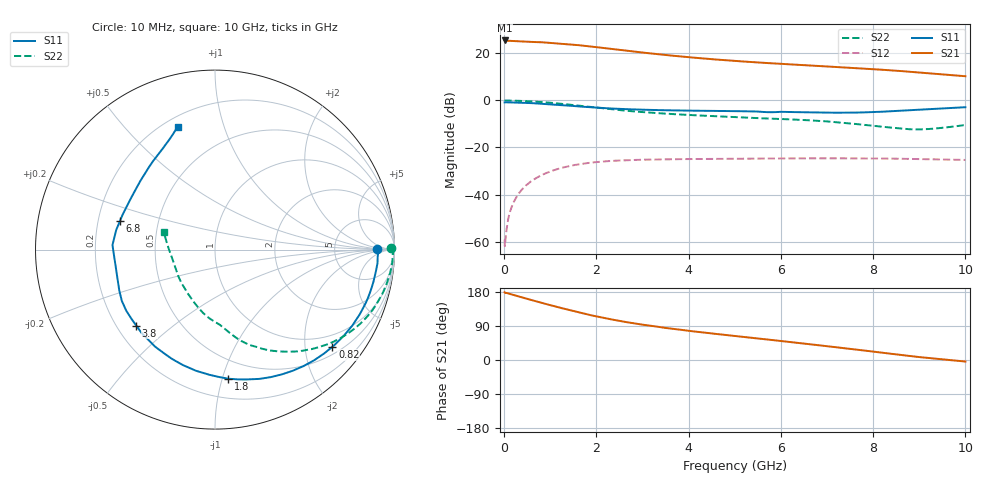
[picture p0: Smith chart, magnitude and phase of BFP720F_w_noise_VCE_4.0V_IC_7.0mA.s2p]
! Infineon Technologies  Discrete & RF Semiconductors
! BFP720F
! VCE =  4.0 V,  IC =  7.0 mA
! Common Emitter S-Parameters:  Jan 2016
# GHz  S  MA  R  50
!  f  S11  S21  S12  S22
! GHz  MAG  ANG  MAG  ANG  MAG  ANG  MAG  ANG
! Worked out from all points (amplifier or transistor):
!   233 points, 10 MHz to 10 GHz, reference 50 ohm
!   highest |S21| = 25.5 dB at 10 MHz (marker M1)
!   |S21| within 3 dB of that: start of sweep to 2.069 GHz
!   unconditionally stable (mu >= 1): 10.27 MHz to 15.48 MHz; 7.21 GHz to end of sweep
!   at 200 MHz: K = 0.12, MSG = 34.3 dB, |S12| = -43.5 dB
!   at 1.74 GHz: K = 0.26, MSG = 25.0 dB, |S12| = -26.8 dB
!   at 10 GHz: K = 1.29, MAG = 14.5 dB, |S12| = -25.3 dB
!   lowest NFmin = 0.48 dB at 450 MHz
!   S11 on the Smith chart (normalised r, x): 10 MHz: 20, +0; 820 MHz: 0.68, -2.62; 1.8 GHz: 0.35, -1.05; 3.8 GHz: 0.28, -0.38; 6.8 GHz: 0.29, +0.14; 10 GHz: 0.25, +0.71
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0.01  0.9046 0.1  18.76 178.8  0.0011 -21.2  0.9804 0.4
0.02  0.9103 -0.8  18.43 177.0  0.0009 55.1  0.9927 -1.2
0.05  0.9073 -2.4  18.55 177.2  0.0017 70.7  0.9905 -1.5
0.105  0.908 -5.0  18.46 175.2  0.0036 79.5  0.9909 -3.2
0.24  0.9007 -11.5  18.18 170.3  0.008 79.5  0.9849 -7.3
0.45  0.8868 -21.7  17.75 163.0  0.0148 75.1  0.9679 -13.7
0.82  0.8489 -39.6  17.17 150.6  0.026 65.3  0.9218 -24.6
1  0.828 -48.1  16.68 144.7  0.0309 60.5  0.892 -29.7
1.28  0.7904 -61.1  15.85 135.8  0.0375 53.3  0.8397 -37.4
1.68  0.7362 -79.2  14.67 123.7  0.0448 43.9  0.7599 -47.3
1.8  0.7232 -84.1  14.23 120.3  0.0465 41.3  0.7375 -50.1
2.2  0.6832 -99.0  12.83 110.1  0.0508 33.6  0.6665 -58.3
2.6  0.6547 -111.4  11.52 101.0  0.0534 27.2  0.6085 -64.9
3  0.6354 -121.7  10.39 93.2  0.055 22.5  0.5646 -70.2
3.4  0.6206 -129.5  9.431 86.5  0.0558 18.6  0.5307 -73.8
3.8  0.61 -136.1  8.625 80.2  0.0564 15.2  0.5027 -76.7
4.5  0.6002 -145.5  7.509 70.0  0.0572 10.7  0.4645 -80.7
5.1  0.5895 -152.3  6.792 62.1  0.0578 7.5  0.4366 -84.0
6.8  0.5527 163.1  5.394 39.2  0.0588 0.1  0.3676 -98.4
8.4  0.5893 128.5  4.342 16.3  0.058 -6.4  0.2634 -135.5
9  0.634 117.3  3.906 7.7  0.0564 -8.1  0.2416 -163.8
10  0.7162 106.8  3.26 -4.1  0.0544 -9.4  0.3005 161.5
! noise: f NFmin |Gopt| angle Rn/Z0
0.45  0.48  0.4  3  0.2
0.9  0.5  0.38  9  0.16
1.8  0.54  0.35  18  0.15
2.4  0.57  0.33  28  0.13
5.5  0.74  0.31  57  0.09
10  0.96  0.26  -100  0.16
